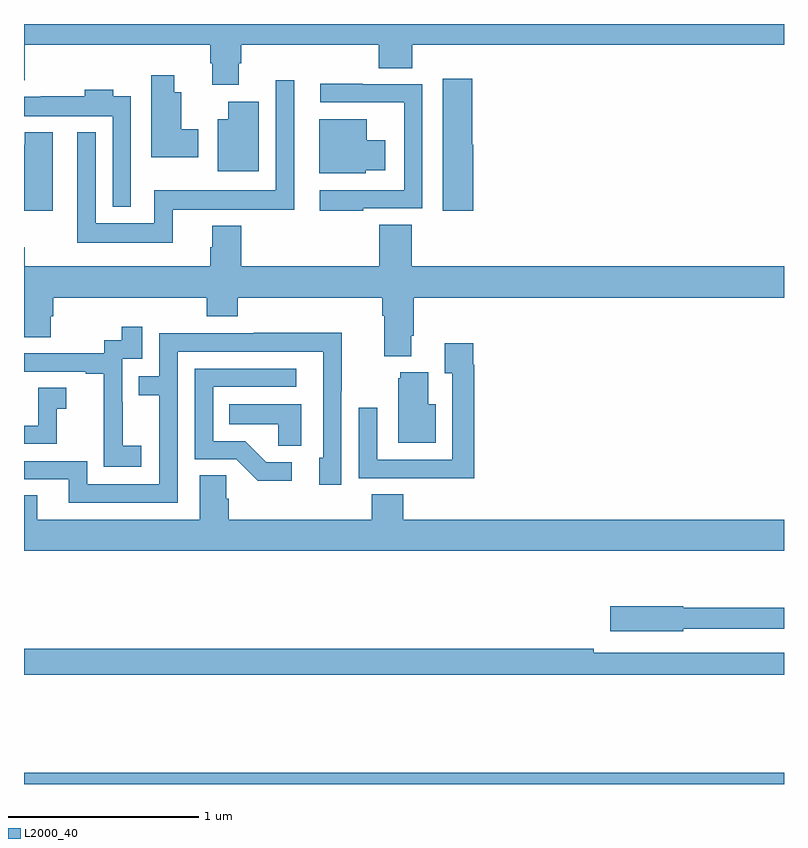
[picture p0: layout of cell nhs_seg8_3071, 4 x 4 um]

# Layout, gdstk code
import gdstk
lib = gdstk.Library(unit=1e-6, precision=1e-09)
def R(c, l, rs):  # rectangles x0, y0, x1, y1
    for r in rs: c.add(gdstk.rectangle(r[:2], r[2:], *l))
def P(c, l, *ps):  # polygons
    for p in ps: c.add(gdstk.Polygon(p, *l))
L2000_40 = (2000, 40)

nhs_seg8_3071 = lib.new_cell('nhs_seg8_3071')
R(nhs_seg8_3071, L2000_40, [(301,1153.9,305,1153.96)])
P(nhs_seg8_3071, L2000_40, [(302.131,1157.694),(302.144,1157.694),(302.144,1157.792),(302.867,1157.792),(302.867,1157.668),(303.044,1157.668),(303.044,1157.792),(305,1157.792),(305,1157.9),(301,1157.9),(301,1157.603),(301.004,1157.603),(301.004,1157.792),(301.979,1157.792),(301.979,1157.694),(301.991,1157.694),(301.991,1157.58),(302.131,1157.58)],
  [(301.918,1157.346),(301.828,1157.346),(301.828,1157.542),(301.792,1157.542),(301.792,1157.629),(301.67,1157.629),(301.67,1157.198),(301.918,1157.198)],
  [(303.364,1157.265),(303.359,1157.265),(303.359,1157.611),(303.203,1157.611),(303.203,1156.917),(303.364,1156.917)],
  [(301.784,1156.922),(302.422,1156.922),(302.422,1157.605),(302.325,1157.605),(302.325,1157.026),(301.686,1157.026),(301.686,1156.852),(301.377,1156.852),(301.377,1157.329),(301.28,1157.329),(301.28,1156.748),(301.784,1156.748)],
  [(302.786,1156.929),(303.096,1156.929),(303.096,1157.583),(302.783,1157.583),(302.783,1157.585),(302.559,1157.585),(302.559,1157.487),(302.999,1157.487),(302.999,1157.486),(303,1157.486),(303,1157.025),(302.556,1157.025),(302.556,1156.917),(302.786,1156.917)],
  [(301.563,1157.521),(301.471,1157.521),(301.471,1157.554),(301.319,1157.554),(301.319,1157.521),(301.087,1157.521),(301.087,1157.518),(301,1157.518),(301,1157.414),(301.467,1157.414),(301.467,1156.937),(301.563,1156.937)],
  [(302.236,1157.491),(302.075,1157.491),(302.075,1157.398),(302.021,1157.398),(302.021,1157.126),(302.236,1157.126)],
  [(302.799,1157.129),(302.902,1157.129),(302.902,1157.287),(302.803,1157.287),(302.803,1157.398),(302.555,1157.398),(302.555,1157.114),(302.799,1157.114)],
  [(301.15,1157.329),(301.004,1157.329),(301.004,1157.265),(301,1157.265),(301,1156.918),(301.15,1156.918)],
  [(303.037,1156.258),(303.05,1156.258),(303.05,1156.46),(305,1156.46),(305,1156.624),(303.041,1156.624),(303.041,1156.844),(302.87,1156.844),(302.87,1156.624),(302.144,1156.624),(302.144,1156.837),(301.991,1156.837),(301.991,1156.725),(301.979,1156.725),(301.979,1156.624),(301.004,1156.624),(301.004,1156.724),(301,1156.724),(301,1156.252),(301.141,1156.252),(301.141,1156.362),(301.154,1156.362),(301.154,1156.46),(301.961,1156.46),(301.961,1156.361),(302.126,1156.361),(302.126,1156.46),(302.885,1156.46),(302.885,1156.364),(302.897,1156.364),(302.897,1156.151),(303.037,1156.151)],
  [(301.618,1155.679),(301.52,1155.679),(301.52,1155.908),(301.518,1155.908),(301.518,1156.137),(301.623,1156.137),(301.623,1156.306),(301.515,1156.306),(301.515,1156.236),(301.422,1156.236),(301.422,1156.167),(301,1156.167),(301,1156.071),(301.325,1156.071),(301.325,1156.059),(301.421,1156.059),(301.421,1155.775),(301.42,1155.775),(301.42,1155.569),(301.618,1155.569)],
  [(301.809,1156.176),(302.574,1156.176),(302.574,1155.618),(302.555,1155.618),(302.555,1155.474),(302.67,1155.474),(302.67,1155.967),(302.673,1155.967),(302.673,1156.274),(302.209,1156.274),(302.209,1156.272),(301.713,1156.272),(301.713,1156.047),(301.603,1156.047),(301.603,1155.946),(301.713,1155.946),(301.713,1155.477),(301.332,1155.477),(301.332,1155.6),(301,1155.6),(301,1155.504),(301.235,1155.504),(301.235,1155.381),(301.809,1155.381)],
  [(303.371,1156.106),(303.364,1156.106),(303.364,1156.219),(303.215,1156.219),(303.215,1156.063),(303.255,1156.063),(303.255,1155.606),(302.859,1155.606),(302.859,1155.88),(302.763,1155.88),(302.763,1155.51),(303.079,1155.51),(303.079,1155.509),(303.371,1155.509)],
  [(302.41,1155.594),(302.275,1155.594),(302.164,1155.705),(301.995,1155.705),(301.995,1155.99),(302.434,1155.99),(302.434,1156.086),(301.899,1156.086),(301.899,1155.609),(302.118,1155.609),(302.231,1155.497),(302.41,1155.497)],
  [(303.166,1155.898),(303.127,1155.898),(303.127,1156.066),(302.981,1156.066),(302.981,1156.035),(302.969,1156.035),(302.969,1155.695),(303.166,1155.695)],
  [(301.173,1155.875),(301.222,1155.875),(301.222,1155.985),(301.074,1155.985),(301.074,1155.786),(301,1155.786),(301,1155.69),(301.173,1155.69)],
  [(302.458,1155.898),(302.08,1155.898),(302.08,1155.794),(302.337,1155.794),(302.337,1155.679),(302.458,1155.679)],
  [(305,1155.292),(302.996,1155.292),(302.996,1155.425),(302.831,1155.425),(302.831,1155.292),(302.078,1155.292),(302.078,1155.401),(302.064,1155.401),(302.064,1155.524),(301.925,1155.524),(301.925,1155.292),(301.069,1155.292),(301.069,1155.419),(301,1155.419),(301,1155.128),(305,1155.128)],
  [(304.47,1154.718),(305,1154.718),(305,1154.827),(304.47,1154.827),(304.47,1154.835),(304.086,1154.835),(304.086,1154.705),(304.47,1154.705)],
  [(305,1154.592),(303.998,1154.592),(303.998,1154.612),(301,1154.612),(301,1154.476),(305,1154.476)])

lib.write_gds('nhs_seg8_3071.gds')
